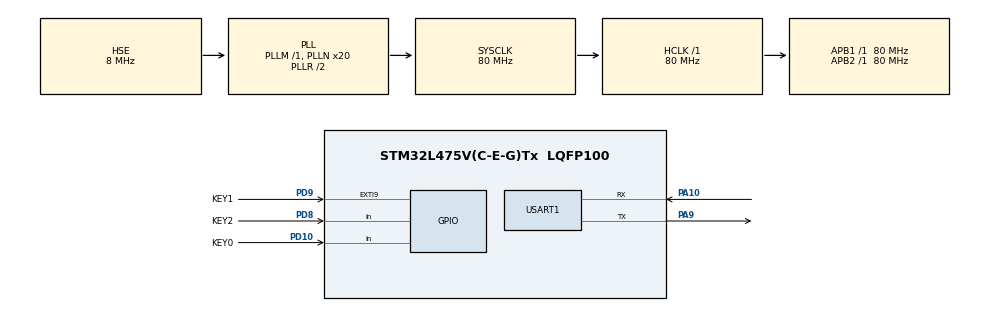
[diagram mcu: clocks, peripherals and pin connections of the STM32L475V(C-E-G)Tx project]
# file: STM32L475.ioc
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Dma.Request0=USART1_RX
Dma.USART1_RX.0.Direction=DMA_PERIPH_TO_MEMORY
Dma.USART1_RX.0.Instance=DMA1_Channel5
Dma.USART1_RX.0.MemDataAlignment=DMA_MDATAALIGN_BYTE
Dma.USART1_RX.0.MemInc=DMA_MINC_ENABLE
Dma.USART1_RX.0.Mode=DMA_CIRCULAR
Dma.USART1_RX.0.PeriphDataAlignment=DMA_PDATAALIGN_BYTE
Dma.USART1_RX.0.PeriphInc=DMA_PINC_DISABLE
Dma.USART1_RX.0.Priority=DMA_PRIORITY_LOW
Mcu.Family=STM32L4
Mcu.Name=STM32L475V(C-E-G)Tx
Mcu.Package=LQFP100
NVIC.DMA1_Channel5_IRQn=true\:0\:0\:false\:false\:true\:false\:true
NVIC.EXTI9_5_IRQn=true\:1\:3\:true\:false\:true\:true\:true
NVIC.PriorityGroup=NVIC_PRIORITYGROUP_1
PA10.Mode=Asynchronous
PA10.Signal=USART1_RX
PA13\ (JTMS-SWDIO).Mode=Serial_Wire
PA13\ (JTMS-SWDIO).Signal=SYS_JTMS-SWDIO
PA14\ (JTCK-SWCLK).Mode=Serial_Wire
PA14\ (JTCK-SWCLK).Signal=SYS_JTCK-SWCLK
PA9.Mode=Asynchronous
PA9.Signal=USART1_TX
PD10.GPIO_Label=KEY0
PD10.GPIO_PuPd=GPIO_PULLUP
PD10.Signal=GPIO_Input
PD8.GPIO_Label=KEY2
PD8.GPIO_PuPd=GPIO_PULLUP
PD8.Signal=GPIO_Input
PD9.GPIO_Label=KEY1
PD9.GPIO_ModeDefaultEXTI=GPIO_MODE_IT_FALLING
PD9.GPIO_PuPd=GPIO_PULLUP
PD9.Signal=GPXTI9
PH0-OSC_IN\ (PH0).Mode=HSE-External-Oscillator
PH0-OSC_IN\ (PH0).Signal=RCC_OSC_IN
PH1-OSC_OUT\ (PH1).Mode=HSE-External-Oscillator
PH1-OSC_OUT\ (PH1).Signal=RCC_OSC_OUT
ProjectManager.HeapSize=0x200
ProjectManager.StackSize=0x400
ProjectManager.TargetToolchain=MDK-ARM V5.27
RCC.ADCFreq_Value=32000000
RCC.AHBFreq_Value=80000000
RCC.APB1Freq_Value=80000000
RCC.APB1TimFreq_Value=80000000
RCC.APB2Freq_Value=80000000
RCC.APB2TimFreq_Value=80000000
RCC.CortexFreq_Value=80000000
RCC.HCLKFreq_Value=80000000
RCC.HSE_VALUE=8000000
RCC.HSI_VALUE=16000000
RCC.LSE_VALUE=32768
RCC.MSI_VALUE=4000000
RCC.PLLN=20
RCC.PLLSourceVirtual=RCC_PLLSOURCE_HSE
RCC.SYSCLKFreq_VALUE=80000000
RCC.SYSCLKSource=RCC_SYSCLKSOURCE_PLLCLK
RCC.USBFreq_Value=32000000
RCC.VCOOutputFreq_Value=160000000
USART1.VirtualMode-Asynchronous=VM_ASYNC
board=custom

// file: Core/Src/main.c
/* USER CODE BEGIN Header */
/**
  ******************************************************************************
  * @file           : main.c
  * @brief          : Main program body
  ******************************************************************************
  * @attention
  *
  * <h2><center>&copy; Copyright (c) 2020 STMicroelectronics.
  * All rights reserved.</center></h2>
  *
  * This software component is licensed by ST under BSD 3-Clause license,
  * the "License"; You may not use this file except in compliance with the
  * License. You may obtain a copy of the License at:
  *                        opensource.org/licenses/BSD-3-Clause
  *
  ******************************************************************************
  */
/* USER CODE END Header */
#include "main.h"
#include "dma.h"
#include "usart.h"
#include "gpio.h"

/* USER CODE BEGIN Includes */
#include <string.h>
#include "LED.h"
/* USER CODE END Includes */

/* USER CODE BEGIN PV */
uint8_t recv_buf[10];
/* USER CODE END PV */

void SystemClock_Config(void);
/* USER CODE BEGIN PFP */
void my_printf(uint8_t *str);

/* USER CODE END PFP */

int main(void)
{

  /* MCU Configuration--------------------------------------------------------*/

  /* Reset of all peripherals, Initializes the Flash interface and the Systick. */
  HAL_Init();

  /* Configure the system clock */
  SystemClock_Config();

  /* Initialize all configured peripherals */
  MX_GPIO_Init();
  MX_DMA_Init();
  MX_USART1_UART_Init();
  /* USER CODE BEGIN 2 */
  LED_init();
  //LED_streamlight(1000);
  my_printf((uint8_t*)"123");
  HAL_UART_Receive_DMA(&huart1,(uint8_t*)recv_buf,4);
  /* USER CODE END 2 */

  /* Infinite loop */
  while (1)
  {

  }
}

void SystemClock_Config(void)
{
  RCC_OscInitTypeDef RCC_OscInitStruct = {0};
  RCC_ClkInitTypeDef RCC_ClkInitStruct = {0};
  RCC_PeriphCLKInitTypeDef PeriphClkInit = {0};

  /** Initializes the RCC Oscillators according to the specified parameters
  * in the RCC_OscInitTypeDef structure.
  */
  RCC_OscInitStruct.OscillatorType = RCC_OSCILLATORTYPE_HSE;
  RCC_OscInitStruct.HSEState = RCC_HSE_ON;
  RCC_OscInitStruct.PLL.PLLState = RCC_PLL_ON;
  RCC_OscInitStruct.PLL.PLLSource = RCC_PLLSOURCE_HSE;
  RCC_OscInitStruct.PLL.PLLM = 1;
  RCC_OscInitStruct.PLL.PLLN = 20;
  RCC_OscInitStruct.PLL.PLLP = RCC_PLLP_DIV7;
  RCC_OscInitStruct.PLL.PLLQ = RCC_PLLQ_DIV2;
  RCC_OscInitStruct.PLL.PLLR = RCC_PLLR_DIV2;
  if (HAL_RCC_OscConfig(&RCC_OscInitStruct) != HAL_OK)
  {
    Error_Handler();
  }
  /** Initializes the CPU, AHB and APB buses clocks
  */
  RCC_ClkInitStruct.ClockType = RCC_CLOCKTYPE_HCLK|RCC_CLOCKTYPE_SYSCLK
                              |RCC_CLOCKTYPE_PCLK1|RCC_CLOCKTYPE_PCLK2;
  RCC_ClkInitStruct.SYSCLKSource = RCC_SYSCLKSOURCE_PLLCLK;
  RCC_ClkInitStruct.AHBCLKDivider = RCC_SYSCLK_DIV1;
  RCC_ClkInitStruct.APB1CLKDivider = RCC_HCLK_DIV1;
  RCC_ClkInitStruct.APB2CLKDivider = RCC_HCLK_DIV1;

  if (HAL_RCC_ClockConfig(&RCC_ClkInitStruct, FLASH_LATENCY_4) != HAL_OK)
  {
    Error_Handler();
  }
  PeriphClkInit.PeriphClockSelection = RCC_PERIPHCLK_USART1;
  PeriphClkInit.Usart1ClockSelection = RCC_USART1CLKSOURCE_PCLK2;
  if (HAL_RCCEx_PeriphCLKConfig(&PeriphClkInit) != HAL_OK)
  {
    Error_Handler();
  }
  /** Configure the main internal regulator output voltage
  */
  if (HAL_PWREx_ControlVoltageScaling(PWR_REGULATOR_VOLTAGE_SCALE1) != HAL_OK)
  {
    Error_Handler();
  }
}

/* USER CODE BEGIN 4 */
void HAL_GPIO_EXTI_Callback(uint16_t GPIO_Pin)
{
  LED_color(3);
  HAL_Delay(1000);
  LED_color(7);
  HAL_Delay(1000);
}

void HAL_UART_RxCpltCallback(UART_HandleTypeDef *huart)
{
    /* 判断是哪个串口触发的中断 */
    if(huart ->Instance == USART1)
    {

        //HAL_UART_Transmit_IT(huart, (uint8_t*)recv_buf, sizeof(recv_buf));
					HAL_UART_Transmit(huart, (uint8_t*)recv_buf, 4,HAL_MAX_DELAY);
        //HAL_UART_Receive_IT(huart, (uint8_t*)recv_buf, sizeof(recv_buf));
    }
}
// void HAL_UART_TxCpltCallback(UART_HandleTypeDef *huart)
// {
//   /* 判断是哪个串口触发的中断 */
//   uint8_t str[]="ni hao a ";
//     if(huart ->Instance == USART1)
//     {
//         //将接收到的数据发�??
//         HAL_UART_Transmit(huart, str, sizeof(str),1000);
//         //重新使能串口接收中断
//         //HAL_UART_Transmit(huart, (uint8_t*)recv_buf, sizeof(recv_buf));
//         HAL_UART_Receive_IT(huart, (uint8_t*)recv_buf, sizeof(recv_buf));
//     }

// }

// void my_printf(uint8_t str[])
// {
//   HAL_UART_Transmit(&huart1, str, strlen(str), 120);
// }

void my_printf(uint8_t *str)
{
	HAL_UART_Transmit(&huart1,str,strlen((const char *)str),120);
}
/* USER CODE END 4 */

void Error_Handler(void)
{
}

/************************ (C) COPYRIGHT STMicroelectronics *****END OF FILE****/
